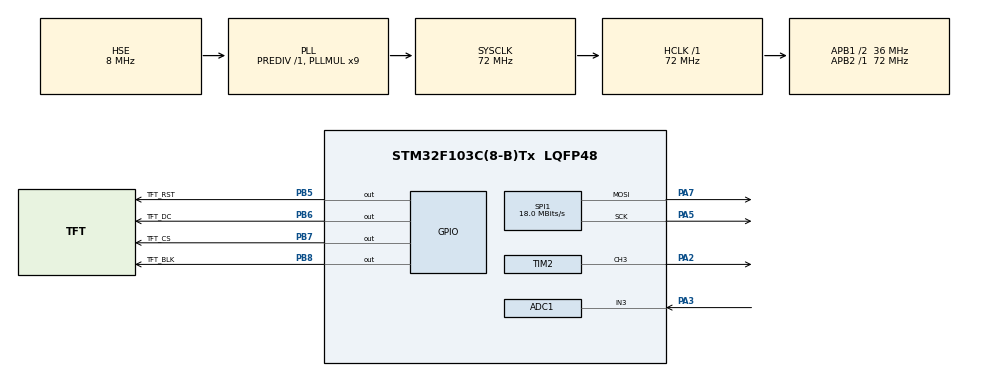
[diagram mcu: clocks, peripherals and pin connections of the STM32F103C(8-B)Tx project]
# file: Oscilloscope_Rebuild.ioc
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ADC1.Channel-0\#ChannelRegularConversion=ADC_CHANNEL_3
ADC1.ContinuousConvMode=ENABLE
ADC1.NbrOfConversionFlag=1
ADC1.Rank-0\#ChannelRegularConversion=1
ADC1.SamplingTime-0\#ChannelRegularConversion=ADC_SAMPLETIME_239CYCLES_5
ADC1.master=1
Dma.ADC1.0.Direction=DMA_PERIPH_TO_MEMORY
Dma.ADC1.0.Instance=DMA1_Channel1
Dma.ADC1.0.MemDataAlignment=DMA_MDATAALIGN_HALFWORD
Dma.ADC1.0.MemInc=DMA_MINC_ENABLE
Dma.ADC1.0.Mode=DMA_NORMAL
Dma.ADC1.0.PeriphDataAlignment=DMA_PDATAALIGN_HALFWORD
Dma.ADC1.0.PeriphInc=DMA_PINC_DISABLE
Dma.ADC1.0.Priority=DMA_PRIORITY_LOW
Dma.Request0=ADC1
Mcu.Family=STM32F1
Mcu.Name=STM32F103C(8-B)Tx
Mcu.Package=LQFP48
NVIC.DMA1_Channel1_IRQn=true\:0\:0\:false\:false\:true\:false\:true\:true
NVIC.PriorityGroup=NVIC_PRIORITYGROUP_4
PA13.Mode=Serial_Wire
PA13.Signal=SYS_JTMS-SWDIO
PA14.Mode=Serial_Wire
PA14.Signal=SYS_JTCK-SWCLK
PA2.Signal=S_TIM2_CH3
PA3.Signal=ADCx_IN3
PA5.Mode=TX_Only_Simplex_Unidirect_Master
PA5.Signal=SPI1_SCK
PA7.Mode=TX_Only_Simplex_Unidirect_Master
PA7.Signal=SPI1_MOSI
PB5.GPIO_Label=TFT_RST
PB5.GPIO_Speed=GPIO_SPEED_FREQ_HIGH
PB5.PinState=GPIO_PIN_SET
PB5.Signal=GPIO_Output
PB6.GPIO_Label=TFT_DC
PB6.GPIO_Speed=GPIO_SPEED_FREQ_HIGH
PB6.Signal=GPIO_Output
PB7.GPIO_Label=TFT_CS
PB7.GPIO_Speed=GPIO_SPEED_FREQ_HIGH
PB7.PinState=GPIO_PIN_SET
PB7.Signal=GPIO_Output
PB8.GPIO_Label=TFT_BLK
PB8.GPIO_Speed=GPIO_SPEED_FREQ_HIGH
PB8.Signal=GPIO_Output
PD0-OSC_IN.Mode=HSE-External-Oscillator
PD0-OSC_IN.Signal=RCC_OSC_IN
PD1-OSC_OUT.Mode=HSE-External-Oscillator
PD1-OSC_OUT.Signal=RCC_OSC_OUT
ProjectManager.HeapSize=0x200
ProjectManager.StackSize=0x400
ProjectManager.TargetToolchain=MDK-ARM V5.32
RCC.ADCPresc=RCC_ADCPCLK2_DIV6
RCC.AHBFreq_Value=72000000
RCC.APB1CLKDivider=RCC_HCLK_DIV2
RCC.APB1Freq_Value=36000000
RCC.APB1TimFreq_Value=72000000
RCC.APB2Freq_Value=72000000
RCC.APB2TimFreq_Value=72000000
RCC.HCLKFreq_Value=72000000
RCC.PLLMUL=RCC_PLL_MUL9
RCC.PLLSourceVirtual=RCC_PLLSOURCE_HSE
RCC.SYSCLKFreq_VALUE=72000000
RCC.SYSCLKSource=RCC_SYSCLKSOURCE_PLLCLK
RCC.USBFreq_Value=72000000
SH.ADCx_IN3.0=ADC1_IN3,IN3
SH.S_TIM2_CH3.0=TIM2_CH3,PWM Generation3 CH3
SPI1.BaudRatePrescaler=SPI_BAUDRATEPRESCALER_4
SPI1.CLKPhase=SPI_PHASE_2EDGE
SPI1.CLKPolarity=SPI_POLARITY_HIGH
SPI1.CRCCalculation=SPI_CRCCALCULATION_DISABLE
SPI1.CalculateBaudRate=18.0 MBits/s
SPI1.Direction=SPI_DIRECTION_2LINES
SPI1.Mode=SPI_MODE_MASTER
SPI1.VirtualType=VM_MASTER
TIM2.Channel-PWM\ Generation3\ CH3=TIM_CHANNEL_3
TIM2.Period=1000-1
TIM2.Prescaler=72-1
TIM2.Pulse-PWM\ Generation3\ CH3=500
board=custom

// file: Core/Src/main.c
/* USER CODE BEGIN Header */
/**
  ******************************************************************************
  * @file           : main.c
  * @brief          : Main program body
  ******************************************************************************
  * @attention
  *
  * Copyright (c) 2026 STMicroelectronics.
  * All rights reserved.
  *
  * This software is licensed under terms that can be found in the LICENSE file
  * in the root directory of this software component.
  * If no LICENSE file comes with this software, it is provided AS-IS.
  *
  ******************************************************************************
  */
/* USER CODE END Header */
#include "main.h"
#include "adc.h"
#include "dma.h"
#include "spi.h"
#include "tim.h"
#include "gpio.h"

/* USER CODE BEGIN PD */
#define ADC_BLOCK_SAMPLES 300U
  /* USER CODE END PD */

/* USER CODE BEGIN PV */
uint16_t adc1_caiji[ADC_BLOCK_SAMPLES];
volatile uint8_t adc1_complete;
volatile uint16_t adc_min;
volatile uint16_t adc_max;
volatile uint32_t adc_blocks_processed;
  /* USER CODE END PV */

void SystemClock_Config(void);

int main(void)
{

  /* MCU Configuration--------------------------------------------------------*/

  /* Reset of all peripherals, Initializes the Flash interface and the Systick. */
  HAL_Init();

  /* Configure the system clock */
  SystemClock_Config();

  /* Initialize all configured peripherals */
  MX_GPIO_Init();
  MX_DMA_Init();
  MX_SPI1_Init();
  MX_TIM2_Init();
  MX_ADC1_Init();

  /* USER CODE BEGIN 2 */
  /* Start the loopback source before sampling. */
  if (HAL_TIM_PWM_Start(&htim2, TIM_CHANNEL_3) != HAL_OK)
  {
    Error_Handler();
  }
  if (HAL_ADCEx_Calibration_Start(&hadc1) != HAL_OK)
  {
    Error_Handler();
  }
  if (HAL_ADC_Start_DMA(&hadc1, (uint32_t *)adc1_caiji, ADC_BLOCK_SAMPLES) != HAL_OK)
  {
    Error_Handler();
  }
  /* USER CODE END 2 */

  /* Infinite loop */
  while (1)
  {

    /* USER CODE BEGIN 3 */
    if (adc1_complete != 0U)
    {
      /* Normal DMA has finished writing this block. */
      uint16_t block_min = adc1_caiji[0];
      uint16_t block_max = adc1_caiji[0];

      for (uint32_t i = 1U; i < ADC_BLOCK_SAMPLES; ++i)
      {
        uint16_t sample = adc1_caiji[i];
        if (sample < block_min)
        {
          block_min = sample;
        }
        if (sample > block_max)
        {
          block_max = sample;
        }
      }
      adc_min = block_min;
      adc_max = block_max;
      ++adc_blocks_processed;

      if (HAL_ADC_Stop_DMA(&hadc1) != HAL_OK)
      {
        Error_Handler();
      }

      /* Clear the old notification before the next block can finish. */
      adc1_complete = 0U;
      if (HAL_ADC_Start_DMA(&hadc1, (uint32_t *)adc1_caiji, ADC_BLOCK_SAMPLES) != HAL_OK)
      {
        Error_Handler();
      }
    }
  }
  /* USER CODE END 3 */
}

void SystemClock_Config(void)
{
  RCC_OscInitTypeDef RCC_OscInitStruct = {0};
  RCC_ClkInitTypeDef RCC_ClkInitStruct = {0};
  RCC_PeriphCLKInitTypeDef PeriphClkInit = {0};

  /** Initializes the RCC Oscillators according to the specified parameters
  * in the RCC_OscInitTypeDef structure.
  */
  RCC_OscInitStruct.OscillatorType = RCC_OSCILLATORTYPE_HSE;
  RCC_OscInitStruct.HSEState = RCC_HSE_ON;
  RCC_OscInitStruct.HSEPredivValue = RCC_HSE_PREDIV_DIV1;
  RCC_OscInitStruct.HSIState = RCC_HSI_ON;
  RCC_OscInitStruct.PLL.PLLState = RCC_PLL_ON;
  RCC_OscInitStruct.PLL.PLLSource = RCC_PLLSOURCE_HSE;
  RCC_OscInitStruct.PLL.PLLMUL = RCC_PLL_MUL9;
  if (HAL_RCC_OscConfig(&RCC_OscInitStruct) != HAL_OK)
  {
    Error_Handler();
  }

  /** Initializes the CPU, AHB and APB buses clocks
  */
  RCC_ClkInitStruct.ClockType = RCC_CLOCKTYPE_HCLK|RCC_CLOCKTYPE_SYSCLK
                              |RCC_CLOCKTYPE_PCLK1|RCC_CLOCKTYPE_PCLK2;
  RCC_ClkInitStruct.SYSCLKSource = RCC_SYSCLKSOURCE_PLLCLK;
  RCC_ClkInitStruct.AHBCLKDivider = RCC_SYSCLK_DIV1;
  RCC_ClkInitStruct.APB1CLKDivider = RCC_HCLK_DIV2;
  RCC_ClkInitStruct.APB2CLKDivider = RCC_HCLK_DIV1;

  if (HAL_RCC_ClockConfig(&RCC_ClkInitStruct, FLASH_LATENCY_2) != HAL_OK)
  {
    Error_Handler();
  }
  PeriphClkInit.PeriphClockSelection = RCC_PERIPHCLK_ADC;
  PeriphClkInit.AdcClockSelection = RCC_ADCPCLK2_DIV6;
  if (HAL_RCCEx_PeriphCLKConfig(&PeriphClkInit) != HAL_OK)
  {
    Error_Handler();
  }
}

/* USER CODE BEGIN 4 */
void HAL_ADC_ConvCpltCallback(ADC_HandleTypeDef *hadc)
{
  if (hadc->Instance == ADC1)
  {
    adc1_complete = 1U;
  }
}
  /* USER CODE END 4 */

void Error_Handler(void)
{
  __disable_irq();
  while (1)
  {
  }
}
